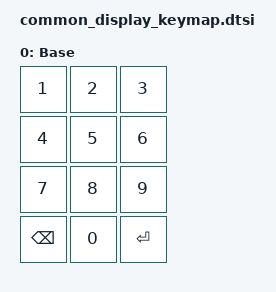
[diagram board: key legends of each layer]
/*
 * Copyright (c) 2022-2024 The ZMK Contributors
 *
 * SPDX-License-Identifier: MIT
 */
 
#include <behaviors.dtsi>
#include <dt-bindings/zmk/keys.h>
#include <dt-bindings/zmk/outputs.h>
#include <dt-bindings/zmk/bt.h>
#include <dt-bindings/zmk/ext_power.h>


/ {

    keymap {
        compatible = "zmk,keymap";

        default_layer {
            display-name = "Base";
            bindings = <
                &kp N1   &kp N2   &kp N3
                &kp N4   &kp N5   &kp N6
                &kp N7   &kp N8   &kp N9
                &kp BSPC &kp N0   &kp RET
            >;
        };
    };
};
